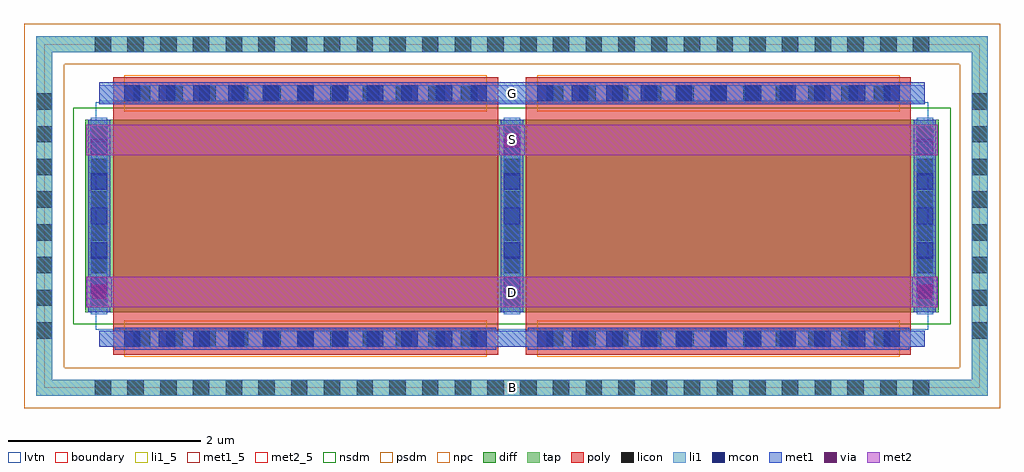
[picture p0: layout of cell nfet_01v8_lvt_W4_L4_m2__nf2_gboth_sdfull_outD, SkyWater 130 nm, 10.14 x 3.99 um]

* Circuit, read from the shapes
.subckt nfet_01v8_lvt_W4_L4_m2__nf2_gboth_sdfull_outD B D G S
XM1 S G D B sky130_fd_pr__nfet_01v8_lvt w=2 l=4 m=2
.ends

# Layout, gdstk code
import gdstk
lib = gdstk.Library(unit=1e-6, precision=1e-09)
def R(c, l, rs):  # rectangles x0, y0, x1, y1
    for r in rs: c.add(gdstk.rectangle(r[:2], r[2:], *l))
def A(c, l, x, y, w, h, nx, ny, dx, dy):  # array of equal rectangles
    R(c, l, [(x+i*dx, y+j*dy, x+i*dx+w, y+j*dy+h) for i in range(nx) for j in range(ny)])
diff = (65, 20)
tap = (65, 44)
poly = (66, 20)
licon = (66, 44)
li1_5 = (67, 5)
li1 = (67, 20)
mcon = (67, 44)
met1_5 = (68, 5)
met1 = (68, 20)
via = (68, 44)
met2_5 = (69, 5)
met2 = (69, 20)
nsdm = (93, 44)
psdm = (94, 20)
npc = (95, 20)
lvtn = (125, 44)
boundary = (235, 4)

sky130_fd_pr__nfet_01v8_ = lib.new_cell('sky130_fd_pr__nfet_01v8_lvt_PVZTX8')
R(sky130_fd_pr__nfet_01v8_, diff, [(-4.435,-1,4.435,1)])
R(sky130_fd_pr__nfet_01v8_, tap, [(-4.945,-1.87,4.945,-1.7), (-4.945,-1.7,-4.775,1.7), (4.775,-1.7,4.945,1.7), (-4.945,1.7,4.945,1.87)])
R(sky130_fd_pr__nfet_01v8_, poly, [(-4.145,-1.44,-0.145,1.44), (0.145,-1.44,4.145,1.44)])
A(sky130_fd_pr__nfet_01v8_, licon, -4.335, -1.87, 0.17, 0.17, 26, 2, 0.34, 3.57)
A(sky130_fd_pr__nfet_01v8_, licon, -3.93, -1.36, 0.17, 0.17, 11, 2, 0.34, 2.55)
A(sky130_fd_pr__nfet_01v8_, licon, 0.36, -1.36, 0.17, 0.17, 11, 2, 0.34, 2.55)
A(sky130_fd_pr__nfet_01v8_, licon, -4.945, -1.275, 0.17, 0.17, 1, 8, 0, 0.34)
A(sky130_fd_pr__nfet_01v8_, licon, 4.775, -1.275, 0.17, 0.17, 1, 8, 0, 0.34)
A(sky130_fd_pr__nfet_01v8_, licon, -4.375, -0.935, 0.17, 0.17, 3, 6, 4.29, 0.34)
A(sky130_fd_pr__nfet_01v8_, li1, -4.375, -1.02, 0.17, 2.04, 3, 1, 4.29, 0)
R(sky130_fd_pr__nfet_01v8_, li1, [(-4.945,-1.87,4.945,-1.7), (-4.945,-1.7,-4.775,1.7), (4.775,-1.7,4.945,1.7), (-4.29,-1.36,4.29,-1.19), (-4.29,1.19,4.29,1.36), (-4.945,1.7,4.945,1.87)])
A(sky130_fd_pr__nfet_01v8_, mcon, -4.03, -1.36, 0.17, 0.17, 11, 2, 0.36, 2.55)
A(sky130_fd_pr__nfet_01v8_, mcon, 0.26, -1.36, 0.17, 0.17, 11, 2, 0.36, 2.55)
A(sky130_fd_pr__nfet_01v8_, mcon, -4.375, -0.805, 0.17, 0.17, 3, 5, 4.29, 0.36)
A(sky130_fd_pr__nfet_01v8_, met1, -4.405, -1, 0.23, 2, 3, 1, 4.29, 0)
R(sky130_fd_pr__nfet_01v8_, met1, [(-4.125,-1.39,-0.165,-1.36), (0.165,-1.39,4.125,-1.36), (-4.29,-1.36,4.29,-1.19), (-4.125,-1.19,-0.165,-1.16), (0.165,-1.19,4.125,-1.16), (-4.125,1.16,-0.165,1.19), (0.165,1.16,4.125,1.19), (-4.29,1.19,4.29,1.36), (-4.125,1.36,-0.165,1.39), (0.165,1.36,4.125,1.39)])
R(sky130_fd_pr__nfet_01v8_, nsdm, [(-4.56,-1.125,4.56,1.125)])
R(sky130_fd_pr__nfet_01v8_, psdm, [(-5.07,-1.995,5.07,-1.575), (-5.07,-1.575,-4.65,1.575), (4.65,-1.575,5.07,1.575), (-5.07,1.575,5.07,1.995)])
R(sky130_fd_pr__nfet_01v8_, npc, [(-4.03,-1.46,-0.26,-1.09), (0.26,-1.46,4.03,-1.09), (-4.03,1.09,-0.26,1.46), (0.26,1.09,4.03,1.46)])
R(sky130_fd_pr__nfet_01v8_, lvtn, [(-4.325,-1.18,4.325,1.18)])
R(sky130_fd_pr__nfet_01v8_, boundary, [(-4.86,-1.785,4.86,1.785)])
sky130_fd_pr__nfet_01v8_.add(gdstk.Label('B', (0,-1.785), layer=67, texttype=5))
sky130_fd_pr__nfet_01v8_.add(gdstk.Label('D0', (-4.29,0), layer=67, texttype=5))
sky130_fd_pr__nfet_01v8_.add(gdstk.Label('G', (2.145,1.275), layer=67, texttype=5))
sky130_fd_pr__nfet_01v8_.add(gdstk.Label('G', (-2.145,1.275), layer=67, texttype=5))
sky130_fd_pr__nfet_01v8_.add(gdstk.Label('S1', (0,0), layer=67, texttype=5))

nfet_01v8_lvt_w4_l4_m2__ = lib.new_cell('nfet_01v8_lvt_W4_L4_m2__nf2_gboth_sdfull_outD')
R(nfet_01v8_lvt_w4_l4_m2__, li1_5, [(4.775,-0.085,4.945,0.085)])
R(nfet_01v8_lvt_w4_l4_m2__, li1, [(4.775,-0.085,4.945,0.085)])
R(nfet_01v8_lvt_w4_l4_m2__, met1_5, [(0.57,2.945,9.15,3.175)])
R(nfet_01v8_lvt_w4_l4_m2__, met1, [(0.44,0.835,0.7,1.155), (9.02,0.835,9.28,1.155), (4.73,2.415,4.99,2.735), (0.57,2.945,9.15,3.175)])
R(nfet_01v8_lvt_w4_l4_m2__, via, [(0.495,0.92,0.645,1.07), (9.075,0.92,9.225,1.07), (4.785,2.5,4.935,2.65)])
R(nfet_01v8_lvt_w4_l4_m2__, met2_5, [(0.435,0.835,9.285,1.155), (0.435,2.415,9.285,2.735)])
R(nfet_01v8_lvt_w4_l4_m2__, met2, [(0.435,0.835,9.285,1.155), (0.435,2.415,9.285,2.735)])
nfet_01v8_lvt_w4_l4_m2__.add(gdstk.Reference(sky130_fd_pr__nfet_01v8_, (4.86,1.785)))
nfet_01v8_lvt_w4_l4_m2__.add(gdstk.Label('S', (4.86,2.575), layer=69, texttype=5))
nfet_01v8_lvt_w4_l4_m2__.add(gdstk.Label('D', (4.86,0.995), layer=69, texttype=5))
nfet_01v8_lvt_w4_l4_m2__.add(gdstk.Label('G', (4.86,3.06), layer=68, texttype=5))
nfet_01v8_lvt_w4_l4_m2__.add(gdstk.Label('B', (4.86,0), layer=67, texttype=5))

lib.write_gds('nfet_01v8_lvt_W4_L4_m2__nf2_gboth_sdfull_outD.gds')
